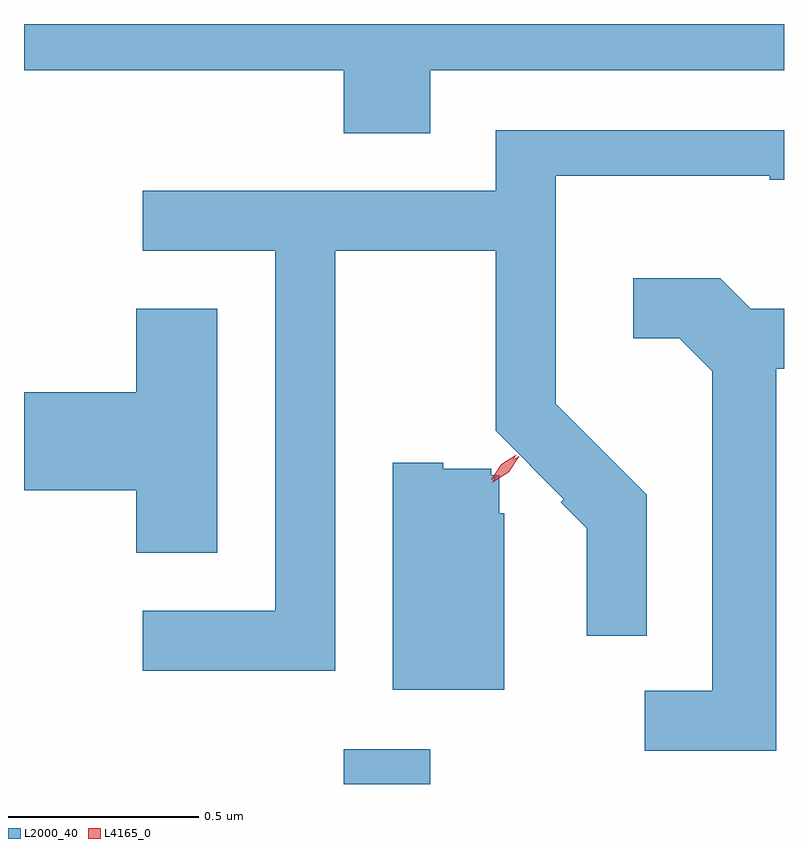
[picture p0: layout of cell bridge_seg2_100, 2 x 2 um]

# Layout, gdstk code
import gdstk
lib = gdstk.Library(unit=1e-6, precision=1e-09)
def R(c, l, rs):  # rectangles x0, y0, x1, y1
    for r in rs: c.add(gdstk.rectangle(r[:2], r[2:], *l))
def P(c, l, *ps):  # polygons
    for p in ps: c.add(gdstk.Polygon(p, *l))
L2000_40 = (2000, 40)
L4165_0 = (4165, 0)

bridge_seg2_100 = lib.new_cell('bridge_seg2_100')
R(bridge_seg2_100, L2000_40, [(1245.921,988.718,1246.149,988.809)])
P(bridge_seg2_100, L2000_40, [(1246.149,990.596),(1247.08,990.596),(1247.08,990.718),(1245.08,990.718),(1245.08,990.596),(1245.921,990.596),(1245.921,990.431),(1246.149,990.431)],
  [(1245.899,990.121),(1246.321,990.121),(1246.321,989.647),(1246.5,989.468),(1246.492,989.46),(1246.561,989.391),(1246.561,989.108),(1246.719,989.108),(1246.719,989.479),(1246.479,989.719),(1246.479,990.319),(1247.042,990.319),(1247.042,990.308),(1247.08,990.308),(1247.08,990.439),(1246.321,990.439),(1246.321,990.279),(1245.393,990.279),(1245.393,990.121),(1245.741,990.121),(1245.741,989.174),(1245.393,989.174),(1245.393,989.016),(1245.899,989.016)],
  [(1247.059,989.811),(1247.08,989.811),(1247.08,989.969),(1246.992,989.969),(1246.912,990.049),(1246.683,990.049),(1246.683,989.891),(1246.804,989.891),(1246.891,989.804),(1246.891,988.964),(1246.713,988.964),(1246.713,988.806),(1247.059,988.806)],
  [(1245.589,989.969),(1245.376,989.969),(1245.376,989.749),(1245.08,989.749),(1245.08,989.491),(1245.376,989.491),(1245.376,989.326),(1245.589,989.326)],
  [(1246.344,989.43),(1246.33,989.43),(1246.33,989.53),(1246.31,989.53),(1246.31,989.548),(1246.183,989.548),(1246.183,989.564),(1246.051,989.564),(1246.051,988.966),(1246.344,988.966)])
P(bridge_seg2_100, L4165_0, [(1246.312,989.512),(1246.312,989.512),(1246.341,989.553),(1246.382,989.581),(1246.383,989.581),(1246.383,989.58),(1246.355,989.539),(1246.313,989.512)],
  [(1246.31,989.519),(1246.31,989.519),(1246.336,989.559),(1246.375,989.585),(1246.376,989.585),(1246.376,989.584),(1246.35,989.545),(1246.311,989.519)])

lib.write_gds('bridge_seg2_100.gds')
